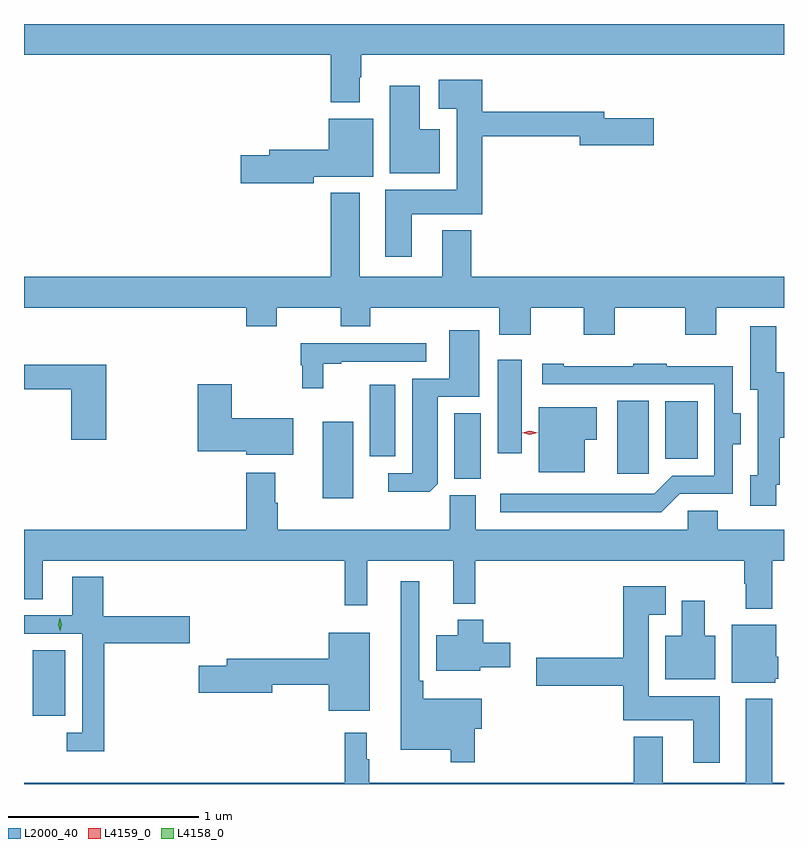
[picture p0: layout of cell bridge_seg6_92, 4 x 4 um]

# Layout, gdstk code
import gdstk
lib = gdstk.Library(unit=1e-6, precision=1e-09)
def R(c, l, rs):  # rectangles x0, y0, x1, y1
    for r in rs: c.add(gdstk.rectangle(r[:2], r[2:], *l))
def P(c, l, *ps):  # polygons
    for p in ps: c.add(gdstk.Polygon(p, *l))
L2000_40 = (2000, 40)
L4158_0 = (4158, 0)
L4159_0 = (4159, 0)

bridge_seg6_92 = lib.new_cell('bridge_seg6_92')
R(bridge_seg6_92, L2000_40, [(844.226,954.512,844.399,954.856), (845.753,955.656,845.914,956.059), (846.446,955.759,846.586,956.105), (847.304,955.785,847.468,956.171), (847.556,955.865,847.726,956.167), (846.002,955.878,846.136,956.254), (846.674,955.893,846.802,956.386)])
P(bridge_seg6_92, L2000_40, [(844.181,957.992),(845.795,957.992),(845.795,957.74),(845.947,957.74),(845.947,957.872),(845.955,957.872),(845.955,957.992),(848.181,957.992),(848.181,958.153),(844.181,958.153)],
  [(846.223,957.152),(846.593,957.152),(846.593,957.562),(847.106,957.562),(847.106,957.515),(847.495,957.515),(847.495,957.657),(847.234,957.657),(847.234,957.691),(846.593,957.691),(846.593,957.859),(846.363,957.859),(846.363,957.707),(846.458,957.707),(846.458,957.28),(846.083,957.28),(846.083,956.928),(846.223,956.928)],
  [(846.37,957.598),(846.265,957.598),(846.265,957.829),(846.107,957.829),(846.107,957.368),(846.37,957.368)],
  [(845.706,957.35),(846.019,957.35),(846.019,957.655),(845.786,957.655),(845.786,957.491),(845.471,957.491),(845.471,957.461),(845.322,957.461),(845.322,957.314),(845.706,957.314)],
  [(846.847,956.66),(847.127,956.66),(847.127,956.517),(847.291,956.517),(847.291,956.66),(847.661,956.66),(847.661,956.517),(847.825,956.517),(847.825,956.66),(848.181,956.66),(848.181,956.824),(846.536,956.824),(846.536,957.067),(846.383,957.067),(846.383,956.824),(845.947,956.824),(845.947,957.265),(845.795,957.265),(845.795,956.824),(844.181,956.824),(844.181,956.66),(845.351,956.66),(845.351,956.561),(845.511,956.561),(845.511,956.66),(845.848,956.66),(845.848,956.561),(846.003,956.561),(846.003,956.66),(846.683,956.66),(846.683,956.517),(846.847,956.517)],
  [(848.139,955.729),(848.159,955.729),(848.159,955.976),(848.181,955.976),(848.181,956.32),(848.14,956.32),(848.14,956.563),(848.003,956.563),(848.003,956.228),(848.043,956.228),(848.043,955.777),(848.003,955.777),(848.003,955.617),(848.139,955.617)],
  [(846.358,955.732),(846.358,956.19),(846.577,956.19),(846.577,956.542),(846.419,956.542),(846.419,956.286),(846.224,956.286),(846.224,955.788),(846.099,955.788),(846.099,955.691),(846.317,955.691)],
  [(845.757,956.364),(845.851,956.364),(845.851,956.376),(846.298,956.376),(846.298,956.472),(845.638,956.472),(845.638,956.358),(845.646,956.358),(845.646,956.235),(845.757,956.235)],
  [(847.632,955.68),(847.912,955.68),(847.912,955.94),(847.954,955.94),(847.954,956.104),(847.911,956.104),(847.911,956.353),(847.565,956.353),(847.565,956.365),(847.387,956.365),(847.387,956.353),(847.021,956.353),(847.021,956.365),(846.909,956.365),(846.909,956.256),(847.815,956.256),(847.815,955.776),(847.593,955.776),(847.497,955.68),(846.687,955.68),(846.687,955.584),(847.536,955.584)],
  [(844.613,956.359),(844.181,956.359),(844.181,956.23),(844.43,956.23),(844.43,955.965),(844.613,955.965)],
  [(845.599,956.077),(845.274,956.077),(845.274,956.257),(845.096,956.257),(845.096,955.904),(845.352,955.904),(845.352,955.886),(845.599,955.886)],
  [(847.132,955.964),(847.195,955.964),(847.195,956.137),(846.89,956.137),(846.89,955.793),(847.132,955.793)],
  [(845.351,955.792),(845.351,955.492),(844.181,955.492),(844.181,955.126),(844.279,955.126),(844.279,955.328),(845.869,955.328),(845.869,955.095),(845.987,955.095),(845.987,955.328),(846.44,955.328),(846.44,955.103),(846.557,955.103),(846.557,955.328),(847.972,955.328),(847.972,955.208),(847.979,955.208),(847.979,955.076),(848.119,955.076),(848.119,955.328),(848.181,955.328),(848.181,955.492),(847.833,955.492),(847.833,955.59),(847.674,955.59),(847.674,955.492),(846.559,955.492),(846.559,955.674),(846.421,955.674),(846.421,955.492),(845.516,955.492),(845.516,955.634),(845.503,955.634),(845.503,955.792)],
  [(844.604,954.893),(845.053,954.893),(845.053,955.035),(844.598,955.035),(844.598,955.243),(844.436,955.243),(844.436,955.041),(844.181,955.041),(844.181,954.945),(844.488,954.945),(844.488,954.423),(844.407,954.423),(844.407,954.326),(844.604,954.326)],
  [(846.554,954.443),(846.589,954.443),(846.589,954.601),(846.281,954.601),(846.281,954.697),(846.261,954.697),(846.261,955.219),(846.164,955.219),(846.164,954.332),(846.426,954.332),(846.426,954.267),(846.554,954.267)],
  [(847.843,954.616),(847.468,954.616),(847.468,955.043),(847.558,955.043),(847.558,955.195),(847.334,955.195),(847.334,954.818),(846.876,954.818),(846.876,954.671),(847.334,954.671),(847.334,954.488),(847.703,954.488),(847.703,954.264),(847.843,954.264)],
  [(847.819,954.934),(847.765,954.934),(847.765,955.117),(847.643,955.117),(847.643,954.934),(847.556,954.934),(847.556,954.704),(847.819,954.704)],
  [(846.582,954.767),(846.739,954.767),(846.739,954.897),(846.599,954.897),(846.599,955.018),(846.464,955.018),(846.464,954.937),(846.35,954.937),(846.35,954.749),(846.582,954.749)],
  [(848.136,954.708),(848.152,954.708),(848.152,954.822),(848.14,954.822),(848.14,954.991),(847.907,954.991),(847.907,954.686),(848.136,954.686)],
  [(846.001,954.949),(845.786,954.949),(845.786,954.812),(845.249,954.812),(845.249,954.776),(845.1,954.776),(845.1,954.634),(845.488,954.634),(845.488,954.676),(845.786,954.676),(845.786,954.539),(846.001,954.539)],
  [(848.181,954.16),(848.119,954.16),(848.119,954.601),(847.979,954.601),(847.979,954.16),(847.543,954.16),(847.543,954.403),(847.391,954.403),(847.391,954.16),(845.998,954.16),(845.998,954.284),(845.986,954.284),(845.986,954.424),(845.869,954.424),(845.869,954.16),(844.181,954.16),(844.181,954.153),(848.181,954.153)])
P(bridge_seg6_92, L4158_0, [(844.372,954.957),(844.372,954.958),(844.36,954.992),(844.368,955.029),(844.369,955.029),(844.369,955.029),(844.38,954.994),(844.372,954.958)])
P(bridge_seg6_92, L4159_0, [(846.844,955.992),(846.803,956.003),(846.803,956.003),(846.803,956.003),(846.844,956.012),(846.884,956.002),(846.885,956.002),(846.884,956.002)])

lib.write_gds('bridge_seg6_92.gds')
